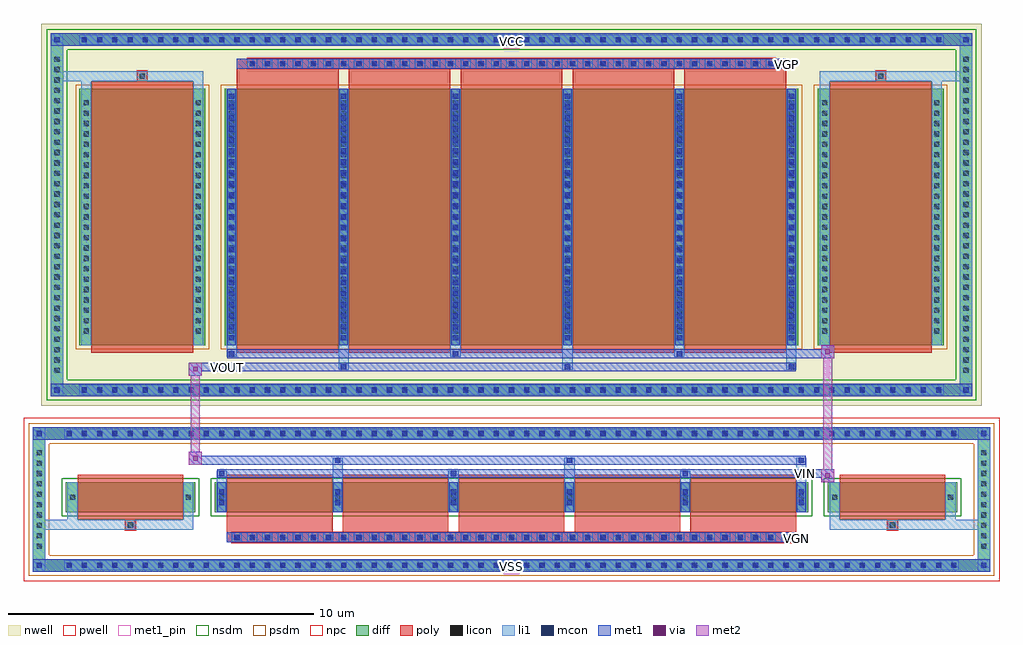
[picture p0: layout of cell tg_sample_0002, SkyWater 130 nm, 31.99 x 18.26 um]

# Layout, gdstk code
import gdstk
lib = gdstk.Library(unit=1e-6, precision=5e-09)
def R(c, l, rs):  # rectangles x0, y0, x1, y1
    for r in rs: c.add(gdstk.rectangle(r[:2], r[2:], *l))
def A(c, l, x, y, w, h, nx, ny, dx, dy):  # array of equal rectangles
    R(c, l, [(x+i*dx, y+j*dy, x+i*dx+w, y+j*dy+h) for i in range(nx) for j in range(ny)])
def P(c, l, *ps):  # polygons
    for p in ps: c.add(gdstk.Polygon(p, *l))
nwell = (64, 20)
pwell = (64, 44)
diff = (65, 20)
poly = (66, 20)
licon = (66, 44)
li1 = (67, 20)
mcon = (67, 44)
met1_pin = (68, 16)
met1 = (68, 20)
via = (68, 44)
met2 = (69, 20)
nsdm = (93, 44)
psdm = (94, 20)
npc = (95, 20)

tg_sample_0002 = lib.new_cell('tg_sample_0002')
R(tg_sample_0002, nwell, [(-15.41,3.075,15.41,15.585)])
R(tg_sample_0002, pwell, [(-15.995,-2.675,15.995,2.675)])
A(tg_sample_0002, diff, -14.705, -2.365, 0.41, 0.41, 59, 2, 0.5, 4.32)
A(tg_sample_0002, diff, -15.685, -1.735, 0.41, 0.41, 1, 10, 0, 0.34)
A(tg_sample_0002, diff, 15.275, -1.735, 0.41, 0.41, 1, 10, 0, 0.34)
A(tg_sample_0002, diff, -14.205, 3.385, 0.41, 0.41, 57, 2, 0.5, 11.48)
A(tg_sample_0002, diff, -15.1, 4.025, 0.41, 0.41, 1, 31, 0, 0.34)
A(tg_sample_0002, diff, 14.69, 4.025, 0.41, 0.41, 1, 31, 0, 0.34)
R(tg_sample_0002, diff, [(-14.705,-2.365,14.705,-1.955), (-15.685,-1.735,-15.275,1.735), (15.275,-1.735,15.685,1.735), (-14.615,-0.42,-10.365,0.56), (-9.725,-0.42,9.725,0.56), (10.365,-0.42,14.615,0.56), (-14.705,1.955,14.705,2.365), (-14.205,3.385,14.205,3.795), (-15.1,4.025,-14.69,14.635), (14.69,4.025,15.1,14.635), (-14.16,5.06,-10.04,13.46), (-9.4,5.06,9.4,13.46), (10.04,5.06,14.16,13.46), (-14.205,14.865,14.205,15.275)])
P(tg_sample_0002, diff, [(15.685,2.365),(-15.685,2.365),(-15.685,-1.955),(-15.275,-1.955),(-15.275,1.955),(15.275,1.955),(15.275,-1.955),(-15.275,-1.955),(-15.685,-1.955),(-15.685,-2.365),(15.685,-2.365)],
  [(15.1,3.385),(-15.1,3.385),(-15.1,14.865),(-14.69,14.865),(-14.69,3.795),(14.69,3.795),(14.69,14.865),(-14.69,14.865),(-15.1,14.865),(-15.1,15.275),(15.1,15.275)])
A(tg_sample_0002, poly, -9.165, -1.41, 0.33, 0.33, 37, 1, 0.5, 0)
A(tg_sample_0002, poly, -9.335, -1.08, 3.47, 0.41, 5, 1, 3.8, 0)
A(tg_sample_0002, poly, -9.335, -0.67, 3.47, 1.48, 5, 1, 3.8, 0)
A(tg_sample_0002, poly, -9.01, 4.81, 3.34, 8.9, 5, 1, 3.67, 0)
A(tg_sample_0002, poly, -9.01, 13.71, 3.34, 0.41, 5, 1, 3.67, 0)
A(tg_sample_0002, poly, -8.665, 14.12, 0.33, 0.33, 35, 1, 0.5, 0)
R(tg_sample_0002, poly, [(-9.335,-1.41,9.335,-1.08), (-12.655,-1,-12.325,-0.67), (-12.655,-1,-12.325,-0.67), (12.325,-1,12.655,-0.67), (12.325,-1,12.655,-0.67), (-14.225,-0.67,-10.755,0.81), (10.755,-0.67,14.225,0.81), (-13.77,4.81,-10.43,13.71), (10.43,4.81,13.77,13.71), (-12.265,13.71,-11.935,14.04), (-12.265,13.71,-11.935,14.04), (11.935,13.71,12.265,14.04), (11.935,13.71,12.265,14.04), (-9.01,14.12,9.01,14.45)])
A(tg_sample_0002, licon, -14.585, -2.245, 0.17, 0.17, 59, 2, 0.5, 4.32)
A(tg_sample_0002, licon, -15.565, -1.615, 0.17, 0.17, 1, 10, 0, 0.34)
A(tg_sample_0002, licon, 15.395, -1.615, 0.17, 0.17, 1, 10, 0, 0.34)
A(tg_sample_0002, licon, -9.085, -1.33, 0.17, 0.17, 37, 1, 0.5, 0)
A(tg_sample_0002, licon, -9.585, -0.015, 0.17, 0.17, 6, 1, 3.8, 0)
A(tg_sample_0002, licon, -14.085, 3.505, 0.17, 0.17, 57, 2, 0.5, 11.48)
A(tg_sample_0002, licon, -14.98, 4.145, 0.17, 0.17, 1, 31, 0, 0.34)
A(tg_sample_0002, licon, 14.81, 4.145, 0.17, 0.17, 1, 31, 0, 0.34)
A(tg_sample_0002, licon, -14.02, 5.435, 0.17, 0.17, 1, 23, 0, 0.34)
A(tg_sample_0002, licon, -10.35, 5.435, 0.17, 0.17, 1, 23, 0, 0.34)
A(tg_sample_0002, licon, -9.26, 5.435, 0.17, 0.17, 6, 23, 3.67, 0.34)
A(tg_sample_0002, licon, 10.18, 5.435, 0.17, 0.17, 1, 23, 0, 0.34)
A(tg_sample_0002, licon, 13.85, 5.435, 0.17, 0.17, 1, 23, 0, 0.34)
A(tg_sample_0002, licon, -8.585, 14.2, 0.17, 0.17, 35, 1, 0.5, 0)
R(tg_sample_0002, licon, [(-12.575,-0.92,-12.405,-0.75), (12.405,-0.92,12.575,-0.75), (-14.475,-0.015,-14.305,0.155), (-10.675,-0.015,-10.505,0.155), (10.505,-0.015,10.675,0.155), (14.305,-0.015,14.475,0.155), (-12.185,13.79,-12.015,13.96), (12.015,13.79,12.185,13.96)])
A(tg_sample_0002, li1, -14.665, -2.325, 0.33, 0.33, 59, 2, 0.5, 4.32)
A(tg_sample_0002, li1, -15.645, -1.695, 0.33, 0.33, 1, 10, 0, 0.34)
A(tg_sample_0002, li1, 15.315, -1.695, 0.33, 0.33, 1, 10, 0, 0.34)
A(tg_sample_0002, li1, -9.165, -1.41, 0.33, 0.33, 37, 1, 0.5, 0)
A(tg_sample_0002, li1, -9.665, -0.42, 0.33, 0.98, 6, 1, 3.8, 0)
A(tg_sample_0002, li1, -9.585, -0.195, 0.17, 0.17, 6, 2, 3.8, 0.36)
A(tg_sample_0002, li1, -9.585, -0.195, 0.17, 0.53, 6, 1, 3.8, 0)
A(tg_sample_0002, li1, -9.665, -0.095, 0.33, 0.33, 6, 1, 3.8, 0)
A(tg_sample_0002, li1, -9.665, 0.56, 0.33, 0.375, 3, 1, 7.6, 0)
A(tg_sample_0002, li1, -5.865, 0.56, 0.33, 0.805, 3, 1, 7.6, 0)
A(tg_sample_0002, li1, -9.585, 0.765, 0.17, 0.17, 3, 1, 7.6, 0)
A(tg_sample_0002, li1, -5.785, 1.195, 0.17, 0.17, 3, 1, 7.6, 0)
A(tg_sample_0002, li1, -14.165, 3.425, 0.33, 0.33, 57, 2, 0.5, 11.48)
A(tg_sample_0002, li1, -15.06, 4.065, 0.33, 0.33, 1, 31, 0, 0.34)
A(tg_sample_0002, li1, 14.73, 4.065, 0.33, 0.33, 1, 31, 0, 0.34)
A(tg_sample_0002, li1, -5.67, 4.255, 0.33, 0.805, 3, 1, 7.34, 0)
A(tg_sample_0002, li1, -5.59, 4.255, 0.17, 0.17, 3, 1, 7.34, 0)
A(tg_sample_0002, li1, -9.34, 4.685, 0.33, 0.375, 3, 1, 7.34, 0)
A(tg_sample_0002, li1, -9.26, 4.685, 0.17, 0.17, 3, 1, 7.34, 0)
A(tg_sample_0002, li1, -9.34, 5.06, 0.33, 8.4, 6, 1, 3.67, 0)
A(tg_sample_0002, li1, -9.26, 5.215, 0.17, 0.17, 6, 23, 3.67, 0.36)
A(tg_sample_0002, li1, -9.26, 5.215, 0.17, 8.09, 6, 1, 3.67, 0)
A(tg_sample_0002, li1, -14.1, 5.355, 0.33, 0.33, 1, 23, 0, 0.34)
A(tg_sample_0002, li1, -10.43, 5.355, 0.33, 0.33, 1, 23, 0, 0.34)
A(tg_sample_0002, li1, -9.34, 5.355, 0.33, 0.33, 6, 23, 3.67, 0.34)
A(tg_sample_0002, li1, 10.1, 5.355, 0.33, 0.33, 1, 23, 0, 0.34)
A(tg_sample_0002, li1, 13.77, 5.355, 0.33, 0.33, 1, 23, 0, 0.34)
A(tg_sample_0002, li1, -8.665, 14.12, 0.33, 0.33, 35, 1, 0.5, 0)
R(tg_sample_0002, li1, [(-15.685,-2.365,-15.275,-1.955), (15.275,-2.365,15.685,-1.955), (-14.665,-2.325,14.665,-1.995), (-15.565,-2.245,-15.395,-2.075), (-15.565,-2.245,-15.395,-2.075), (15.395,-2.245,15.565,-2.075), (15.395,-2.245,15.565,-2.075), (-15.685,-1.955,-15.275,1.955), (15.275,-1.955,15.685,1.955), (-15.685,-1,-12.655,-0.67), (-14.555,-1,-12.655,-0.67), (-14.555,-1,-14.225,-0.42), (-12.655,-1,-12.325,-0.67), (-12.325,-1,-10.425,-0.67), (-10.755,-1,-10.425,-0.42), (10.425,-1,12.325,-0.67), (10.425,-1,10.755,-0.42), (12.325,-1,12.655,-0.67), (12.325,-1,15.685,-0.67), (12.655,-1,14.555,-0.67), (14.225,-1,14.555,-0.42), (-14.555,-0.42,-14.225,0.56), (-10.755,-0.42,-10.425,0.56), (10.425,-0.42,10.755,0.56), (14.225,-0.42,14.555,0.56), (-14.555,-0.095,-14.225,0.235), (-10.755,-0.095,-10.425,0.235), (10.425,-0.095,10.755,0.235), (14.225,-0.095,14.555,0.235), (-15.685,1.955,-15.275,2.365), (15.275,1.955,15.685,2.365), (-14.665,1.995,14.665,2.325), (-15.565,2.075,-15.395,2.245), (-15.565,2.075,-15.395,2.245), (15.395,2.075,15.565,2.245), (15.395,2.075,15.565,2.245), (-15.1,3.385,-14.69,3.795), (14.69,3.385,15.1,3.795), (-14.165,3.425,14.165,3.755), (-14.98,3.505,-14.81,3.675), (-14.98,3.505,-14.81,3.675), (14.81,3.505,14.98,3.675), (14.81,3.505,14.98,3.675), (-15.1,3.795,-14.69,14.865), (14.69,3.795,15.1,14.865), (-14.1,5.06,-13.77,13.46), (-10.43,5.06,-10.1,13.46), (10.1,5.06,10.43,13.46), (13.77,5.06,14.1,13.46), (-14.1,13.46,-13.77,14.04), (-10.43,13.46,-10.1,14.04), (10.1,13.46,10.43,14.04), (13.77,13.46,14.1,14.04), (-15.1,13.71,-12.265,14.04), (-14.1,13.71,-12.265,14.04), (-12.265,13.71,-11.935,14.04), (-11.935,13.71,-10.1,14.04), (10.1,13.71,11.935,14.04), (11.935,13.71,12.265,14.04), (11.935,13.71,15.1,14.04), (12.265,13.71,14.1,14.04), (-15.1,14.865,-14.69,15.275), (14.69,14.865,15.1,15.275), (-14.165,14.905,14.165,15.235), (-14.98,14.985,-14.81,15.155), (-14.98,14.985,-14.81,15.155), (14.81,14.985,14.98,15.155), (14.81,14.985,14.98,15.155)])
A(tg_sample_0002, mcon, -14.585, -2.245, 0.17, 0.17, 59, 2, 0.5, 4.32)
A(tg_sample_0002, mcon, -9.085, -1.33, 0.17, 0.17, 37, 1, 0.5, 0)
A(tg_sample_0002, mcon, -9.585, -0.195, 0.17, 0.17, 6, 2, 3.8, 0.36)
A(tg_sample_0002, mcon, -9.585, 0.765, 0.17, 0.17, 3, 1, 7.6, 0)
A(tg_sample_0002, mcon, -5.785, 1.195, 0.17, 0.17, 3, 1, 7.6, 0)
A(tg_sample_0002, mcon, -14.085, 3.505, 0.17, 0.17, 57, 2, 0.5, 11.48)
A(tg_sample_0002, mcon, -5.59, 4.255, 0.17, 0.17, 3, 1, 7.34, 0)
A(tg_sample_0002, mcon, -9.26, 4.685, 0.17, 0.17, 3, 1, 7.34, 0)
A(tg_sample_0002, mcon, -9.26, 5.215, 0.17, 0.17, 6, 23, 3.67, 0.36)
A(tg_sample_0002, mcon, -8.585, 14.2, 0.17, 0.17, 35, 1, 0.5, 0)
R(tg_sample_0002, mcon, [(-15.565,-2.245,-15.395,-2.075), (15.395,-2.245,15.565,-2.075), (-15.565,2.075,-15.395,2.245), (15.395,2.075,15.565,2.245), (-14.98,3.505,-14.81,3.675), (14.81,3.505,14.98,3.675), (-14.98,14.985,-14.81,15.155), (14.81,14.985,14.98,15.155)])
R(tg_sample_0002, met1_pin, [(-0.25,-2.455,0.25,-1.955), (9.2,-1.41,9.47,-1.14), (9.51,0.705,9.78,0.975), (-9.455,4.195,-9.185,4.465), (8.875,14.12,9.145,14.39), (-0.25,14.775,0.25,15.275)])
A(tg_sample_0002, met1, -14.645, -2.305, 0.29, 0.29, 59, 2, 0.5, 4.32)
A(tg_sample_0002, met1, -9.145, -1.39, 0.29, 0.29, 37, 1, 0.5, 0)
A(tg_sample_0002, met1, -9.645, -0.42, 0.29, 0.98, 6, 1, 3.8, 0)
A(tg_sample_0002, met1, -9.645, -0.255, 0.29, 0.29, 6, 2, 3.8, 0.36)
A(tg_sample_0002, met1, -9.645, 0.705, 0.29, 0.29, 3, 1, 7.6, 0)
A(tg_sample_0002, met1, -5.845, 1.135, 0.29, 0.29, 3, 1, 7.6, 0)
A(tg_sample_0002, met1, -14.145, 3.445, 0.29, 0.29, 57, 2, 0.5, 11.48)
A(tg_sample_0002, met1, -5.65, 4.195, 0.29, 0.29, 3, 1, 7.34, 0)
A(tg_sample_0002, met1, -9.32, 4.625, 0.29, 0.29, 3, 1, 7.34, 0)
A(tg_sample_0002, met1, -9.32, 5.06, 0.29, 8.4, 6, 1, 3.67, 0)
A(tg_sample_0002, met1, -9.32, 5.155, 0.29, 0.29, 6, 23, 3.67, 0.36)
A(tg_sample_0002, met1, -8.645, 14.14, 0.29, 0.29, 35, 1, 0.5, 0)
R(tg_sample_0002, met1, [(-15.685,-2.365,-15.275,-1.955), (-15.685,-2.365,-15.275,-1.955), (-15.275,-2.365,15.275,-1.955), (15.275,-2.365,15.685,-1.955), (15.275,-2.365,15.685,-1.955), (-15.625,-2.305,-15.335,-2.015), (15.335,-2.305,15.625,-2.015), (-9.335,-1.41,9.335,-1.08), (10.145,0.565,10.575,0.995), (-9.645,0.705,9.645,0.995), (9.645,0.705,10.575,0.995), (-10.575,1.135,-9.645,1.425), (-10.575,1.135,-10.145,1.565), (-9.645,1.135,9.645,1.425), (-15.685,1.955,-15.275,2.365), (-15.685,1.955,-15.275,2.365), (-15.275,1.955,15.275,2.365), (15.275,1.955,15.685,2.365), (15.275,1.955,15.685,2.365), (-15.625,2.015,-15.335,2.305), (15.335,2.015,15.625,2.305), (-15.1,3.385,-14.69,3.795), (-15.1,3.385,-14.69,3.795), (-14.69,3.385,14.69,3.795), (14.69,3.385,15.1,3.795), (14.69,3.385,15.1,3.795), (-15.04,3.445,-14.75,3.735), (14.75,3.445,15.04,3.735), (-10.575,4.055,-10.145,4.485), (-10.575,4.195,-9.32,4.485), (-9.32,4.195,9.32,4.485), (-9.32,4.625,9.32,4.915), (9.32,4.625,10.575,4.915), (10.145,4.625,10.575,5.055), (-9.01,14.12,9.01,14.45), (-15.1,14.865,-14.69,15.275), (-15.1,14.865,-14.69,15.275), (-14.69,14.865,14.69,15.275), (14.69,14.865,15.1,15.275), (14.69,14.865,15.1,15.275), (-15.04,14.925,-14.75,15.215), (14.75,14.925,15.04,15.215)])
R(tg_sample_0002, via, [(10.285,0.705,10.435,0.855), (-10.435,1.275,-10.285,1.425), (-10.435,4.195,-10.285,4.345), (10.285,4.765,10.435,4.915)])
R(tg_sample_0002, met2, [(10.145,0.565,10.575,0.995), (10.215,0.565,10.505,5.055), (10.505,0.565,10.575,0.995), (10.195,0.615,10.525,0.945), (-10.575,1.135,-10.145,1.565), (-10.505,1.135,-10.215,4.485), (-10.215,1.135,-10.145,1.565), (-10.525,1.185,-10.195,1.515), (-10.575,4.055,-10.145,4.485), (-10.215,4.055,-10.145,4.485), (-10.525,4.105,-10.195,4.435), (10.145,4.625,10.575,5.055), (10.505,4.625,10.575,5.055), (10.195,4.675,10.525,5.005)])
R(tg_sample_0002, nsdm, [(-14.745,-0.55,-10.235,0.69), (-9.855,-0.55,9.855,0.69), (10.235,-0.55,14.745,0.69)])
P(tg_sample_0002, nsdm, [(15.23,3.255),(-15.23,3.255),(-15.23,14.735),(-14.56,14.735),(-14.56,3.925),(14.56,3.925),(14.56,14.735),(-14.56,14.735),(-15.23,14.735),(-15.23,15.405),(15.23,15.405)])
R(tg_sample_0002, psdm, [(-14.29,4.93,-9.91,13.59), (-9.53,4.93,9.53,13.59), (9.91,4.93,14.29,13.59)])
P(tg_sample_0002, psdm, [(15.815,2.495),(-15.815,2.495),(-15.815,-1.825),(-15.145,-1.825),(-15.145,1.825),(15.145,1.825),(15.145,-1.825),(-15.145,-1.825),(-15.815,-1.825),(-15.815,-2.495),(15.815,-2.495)])
A(tg_sample_0002, npc, -9.185, -1.43, 0.37, 0.37, 37, 1, 0.5, 0)
A(tg_sample_0002, npc, -8.685, 14.1, 0.37, 0.37, 35, 1, 0.5, 0)
R(tg_sample_0002, npc, [(-9.185,-1.43,-8.315,-1.06), (-9.185,-1.43,-8.315,-1.06), (-8.685,-1.43,-7.815,-1.06), (-8.685,-1.43,-7.815,-1.06), (-8.185,-1.43,-7.315,-1.06), (-8.185,-1.43,-7.315,-1.06), (-7.685,-1.43,-6.815,-1.06), (-7.685,-1.43,-6.815,-1.06), (-7.185,-1.43,-6.315,-1.06), (-7.185,-1.43,-6.315,-1.06), (-6.685,-1.43,-5.815,-1.06), (-6.685,-1.43,-5.815,-1.06), (-6.185,-1.43,-5.315,-1.06), (-6.185,-1.43,-5.315,-1.06), (-5.685,-1.43,-4.815,-1.06), (-5.685,-1.43,-4.815,-1.06), (-5.185,-1.43,-4.315,-1.06), (-5.185,-1.43,-4.315,-1.06), (-4.685,-1.43,-3.815,-1.06), (-4.685,-1.43,-3.815,-1.06), (-4.185,-1.43,-3.315,-1.06), (-4.185,-1.43,-3.315,-1.06), (-3.685,-1.43,-2.815,-1.06), (-3.685,-1.43,-2.815,-1.06), (-3.185,-1.43,-2.315,-1.06), (-3.185,-1.43,-2.315,-1.06), (-2.685,-1.43,-1.815,-1.06), (-2.685,-1.43,-1.815,-1.06), (-2.185,-1.43,-1.315,-1.06), (-2.185,-1.43,-1.315,-1.06), (-1.685,-1.43,-0.815,-1.06), (-1.685,-1.43,-0.815,-1.06), (-1.185,-1.43,-0.315,-1.06), (-1.185,-1.43,-0.315,-1.06), (-0.685,-1.43,0.185,-1.06), (-0.685,-1.43,0.185,-1.06), (-0.185,-1.43,0.685,-1.06), (-0.185,-1.43,0.685,-1.06), (0.315,-1.43,1.185,-1.06), (0.315,-1.43,1.185,-1.06), (0.815,-1.43,1.685,-1.06), (0.815,-1.43,1.685,-1.06), (1.315,-1.43,2.185,-1.06), (1.315,-1.43,2.185,-1.06), (1.815,-1.43,2.685,-1.06), (1.815,-1.43,2.685,-1.06), (2.315,-1.43,3.185,-1.06), (2.315,-1.43,3.185,-1.06), (2.815,-1.43,3.685,-1.06), (2.815,-1.43,3.685,-1.06), (3.315,-1.43,4.185,-1.06), (3.315,-1.43,4.185,-1.06), (3.815,-1.43,4.685,-1.06), (3.815,-1.43,4.685,-1.06), (4.315,-1.43,5.185,-1.06), (4.315,-1.43,5.185,-1.06), (4.815,-1.43,5.685,-1.06), (4.815,-1.43,5.685,-1.06), (5.315,-1.43,6.185,-1.06), (5.315,-1.43,6.185,-1.06), (5.815,-1.43,6.685,-1.06), (5.815,-1.43,6.685,-1.06), (6.315,-1.43,7.185,-1.06), (6.315,-1.43,7.185,-1.06), (6.815,-1.43,7.685,-1.06), (6.815,-1.43,7.685,-1.06), (7.315,-1.43,8.185,-1.06), (7.315,-1.43,8.185,-1.06), (7.815,-1.43,8.685,-1.06), (7.815,-1.43,8.685,-1.06), (8.315,-1.43,9.185,-1.06), (8.315,-1.43,9.185,-1.06), (-12.675,-1.02,-12.305,-0.65), (12.305,-1.02,12.675,-0.65), (-12.285,13.69,-11.915,14.06), (11.915,13.69,12.285,14.06), (-8.685,14.1,-7.815,14.47), (-8.685,14.1,-7.815,14.47), (-8.185,14.1,-7.315,14.47), (-8.185,14.1,-7.315,14.47), (-7.685,14.1,-6.815,14.47), (-7.685,14.1,-6.815,14.47), (-7.185,14.1,-6.315,14.47), (-7.185,14.1,-6.315,14.47), (-6.685,14.1,-5.815,14.47), (-6.685,14.1,-5.815,14.47), (-6.185,14.1,-5.315,14.47), (-6.185,14.1,-5.315,14.47), (-5.685,14.1,-4.815,14.47), (-5.685,14.1,-4.815,14.47), (-5.185,14.1,-4.315,14.47), (-5.185,14.1,-4.315,14.47), (-4.685,14.1,-3.815,14.47), (-4.685,14.1,-3.815,14.47), (-4.185,14.1,-3.315,14.47), (-4.185,14.1,-3.315,14.47), (-3.685,14.1,-2.815,14.47), (-3.685,14.1,-2.815,14.47), (-3.185,14.1,-2.315,14.47), (-3.185,14.1,-2.315,14.47), (-2.685,14.1,-1.815,14.47), (-2.685,14.1,-1.815,14.47), (-2.185,14.1,-1.315,14.47), (-2.185,14.1,-1.315,14.47), (-1.685,14.1,-0.815,14.47), (-1.685,14.1,-0.815,14.47), (-1.185,14.1,-0.315,14.47), (-1.185,14.1,-0.315,14.47), (-0.685,14.1,0.185,14.47), (-0.685,14.1,0.185,14.47), (-0.185,14.1,0.685,14.47), (-0.185,14.1,0.685,14.47), (0.315,14.1,1.185,14.47), (0.315,14.1,1.185,14.47), (0.815,14.1,1.685,14.47), (0.815,14.1,1.685,14.47), (1.315,14.1,2.185,14.47), (1.315,14.1,2.185,14.47), (1.815,14.1,2.685,14.47), (1.815,14.1,2.685,14.47), (2.315,14.1,3.185,14.47), (2.315,14.1,3.185,14.47), (2.815,14.1,3.685,14.47), (2.815,14.1,3.685,14.47), (3.315,14.1,4.185,14.47), (3.315,14.1,4.185,14.47), (3.815,14.1,4.685,14.47), (3.815,14.1,4.685,14.47), (4.315,14.1,5.185,14.47), (4.315,14.1,5.185,14.47), (4.815,14.1,5.685,14.47), (4.815,14.1,5.685,14.47), (5.315,14.1,6.185,14.47), (5.315,14.1,6.185,14.47), (5.815,14.1,6.685,14.47), (5.815,14.1,6.685,14.47), (6.315,14.1,7.185,14.47), (6.315,14.1,7.185,14.47), (6.815,14.1,7.685,14.47), (6.815,14.1,7.685,14.47), (7.315,14.1,8.185,14.47), (7.315,14.1,8.185,14.47), (7.815,14.1,8.685,14.47), (7.815,14.1,8.685,14.47)])
tg_sample_0002.add(gdstk.Label('VIN', (9.645,0.84), layer=68, texttype=5))
tg_sample_0002.add(gdstk.Label('VGN', (9.335,-1.275), layer=68, texttype=5))
tg_sample_0002.add(gdstk.Label('VGP', (9.01,14.255), layer=68, texttype=5))
tg_sample_0002.add(gdstk.Label('VSS', (0,-2.205), layer=68, texttype=5))
tg_sample_0002.add(gdstk.Label('VCC', (0,15.025), layer=68, texttype=5))
tg_sample_0002.add(gdstk.Label('VOUT', (-9.32,4.33), layer=68, texttype=5))

lib.write_gds('tg_sample_0002.gds')
